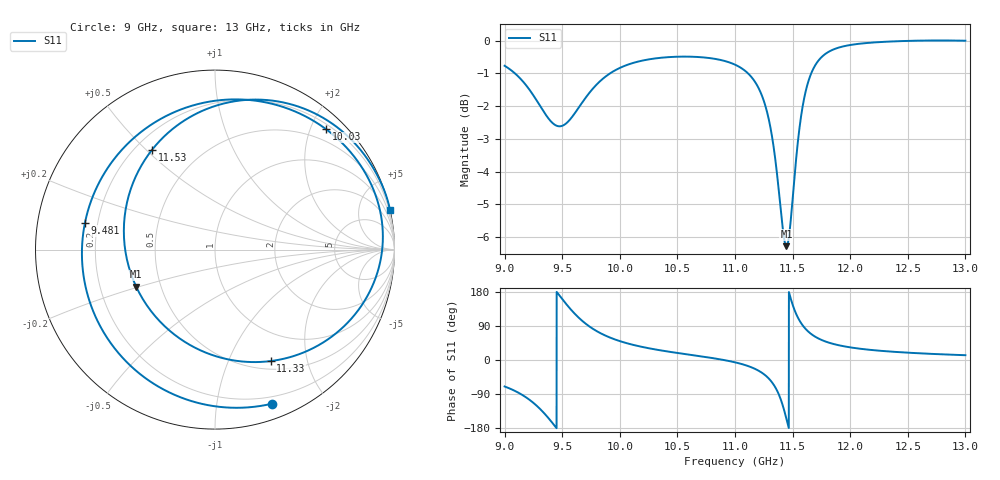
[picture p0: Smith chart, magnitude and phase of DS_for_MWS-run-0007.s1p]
! TOUCHSTONE file generated by CST DESIGN STUDIO
! Date and time: Tue Feb  4 18:32:33 2025
! Project name: C:\Work\MatlabApps\UnitCellOptimizationMatlab\CST\unitcell.cst
! Tree item: Tasks\Sweep1\SPara1\S-Parameters
! Header version: 2024
! Port assignment regex: !\s*Touchstone port\s*([0-9]+)\s*=\s*(CST MWS port|CST DES external port|CST DES block port)\s*(.+)\s* \(\"(.*)\"\)(\s*mode\s*([0-9]+))?.*
! Touchstone port assignment:
! Touchstone port 1 = CST DES external port 1 ("")
# GHz S MA R 50
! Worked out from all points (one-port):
!   4001 points, 9 GHz to 13 GHz, reference 50 ohm
!   lowest |S11| = -6.3 dB at 11.45 GHz (marker M1), VSWR 2.89, Z = 18.1 - j9.8 ohm
!   |S11| at or under -10 dB: nowhere
!   S11 on the Smith chart (normalised r, x): 9 GHz: 0.13, -1.42; 9.481 GHz: 0.15, +0.10; 10.03 GHz: 0.28, +2.26; 11.33 GHz: 0.60, -1.44; 11.53 GHz: 0.27, +0.52; 13 GHz: 0.02, +9.01
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9  0.9151 -69.8
9.151  0.8692 -91.7
9.261  0.819 -116.0
9.386  0.7583 -155.3
9.481  0.7397 168.3
9.5  0.7409 160.9
9.599  0.77 125.2
9.697  0.815 97.4
9.843  0.8713 69.1
10  0.9082 49.9
10.028  0.9128 47.2
10.231  0.9345 32.2
10.5  0.9447 18.6
11  0.9187 -6.1
11.206  0.8452 -28.5
11.274  0.783 -43.2
11.332  0.6943 -63.5
11.392  0.5629 -99.7
11.446  0.4853 -154.7
11.5  0.5723 146.2
11.53  0.6577 122.2
11.564  0.7452 102.0
11.602  0.819 85.8
11.717  0.9284 57.9
11.834  0.9655 44.0
12  0.9844 33.3
12.5  0.9988 19.3
13  0.9994 12.7
